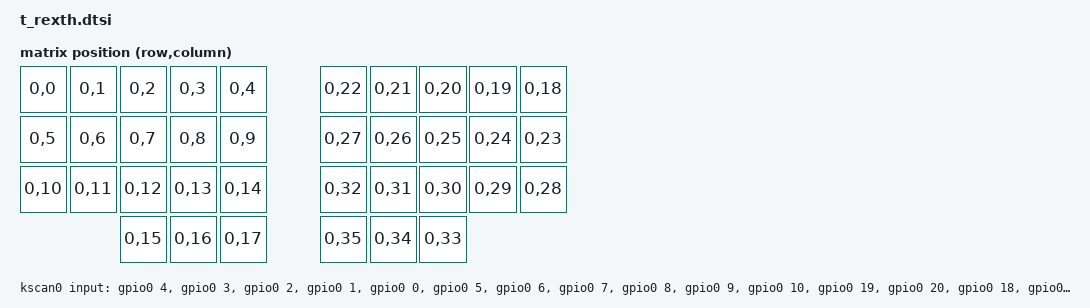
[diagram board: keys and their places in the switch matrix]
#include <dt-bindings/zmk/matrix_transform.h>

&gpio0 {
  status = "okay";
};

zephyr_udc0: &usbd {
  status = "okay";
};

&pinctrl {
  i2c0_default: i2c0_default {
    group1 {
      pinmux = <I2C0_SDA_P12>, <I2C0_SCL_P13>;
      input-enable;
      input-schmitt-enable;
    };
  };
};

&i2c0 {
  status = "okay";
  pinctrl-0 = <&i2c0_default>;
  pinctrl-names = "default";
  clock-frequency = <I2C_BITRATE_STANDARD>;
};

/ {
  chosen {
    zmk,kscan = &kscan0;
    zmk,matrix_transform = &default_transform;
  };

  default_transform: keymap_transform_0 {
    compatible = "zmk,matrix-transform";
    columns = <36>;
    rows = <1>;
    map = <
      RC(0,0)  RC(0,1)  RC(0,2)  RC(0,3)  RC(0,4)     RC(0,22) RC(0,21) RC(0,20) RC(0,19) RC(0,18)
      RC(0,5)  RC(0,6)  RC(0,7)  RC(0,8)  RC(0,9)     RC(0,27) RC(0,26) RC(0,25) RC(0,24) RC(0,23)
      RC(0,10) RC(0,11) RC(0,12) RC(0,13) RC(0,14)    RC(0,32) RC(0,31) RC(0,30) RC(0,29) RC(0,28)
                        RC(0,15) RC(0,16) RC(0,17)    RC(0,35) RC(0,34) RC(0,33)
    >;
  };

  kscan0: kscan {
    compatible = "zmk,kscan-gpio-direct";
    input-gpios
      = <&gpio0 4 (GPIO_ACTIVE_LOW | GPIO_PULL_UP)>
      , <&gpio0 3 (GPIO_ACTIVE_LOW | GPIO_PULL_UP)>
      , <&gpio0 2  (GPIO_ACTIVE_LOW | GPIO_PULL_UP)>
      , <&gpio0 1  (GPIO_ACTIVE_LOW | GPIO_PULL_UP)>
      , <&gpio0 0 (GPIO_ACTIVE_LOW | GPIO_PULL_UP)>
      , <&gpio0 5  (GPIO_ACTIVE_LOW | GPIO_PULL_UP)>
      , <&gpio0 6  (GPIO_ACTIVE_LOW | GPIO_PULL_UP)>
      , <&gpio0 7 (GPIO_ACTIVE_LOW | GPIO_PULL_UP)>
      , <&gpio0 8 (GPIO_ACTIVE_LOW | GPIO_PULL_UP)>
      , <&gpio0 9  (GPIO_ACTIVE_LOW | GPIO_PULL_UP)>
      , <&gpio0 10  (GPIO_ACTIVE_LOW | GPIO_PULL_UP)>
      , <&gpio0 19  (GPIO_ACTIVE_LOW | GPIO_PULL_UP)>
      , <&gpio0 20  (GPIO_ACTIVE_LOW | GPIO_PULL_UP)>
      , <&gpio0 18  (GPIO_ACTIVE_LOW | GPIO_PULL_UP)>
      , <&gpio0 26  (GPIO_ACTIVE_LOW | GPIO_PULL_UP)>
      , <&gpio0 27 (GPIO_ACTIVE_LOW | GPIO_PULL_UP)>
      , <&gpio0 28 (GPIO_ACTIVE_LOW | GPIO_PULL_UP)>
      , <&gpio0 29 (GPIO_ACTIVE_LOW | GPIO_PULL_UP)>
      ;
  };

  wired_split {
    compatible = "zmk,wired-split";
    device = <&pio0>;
  };
};
